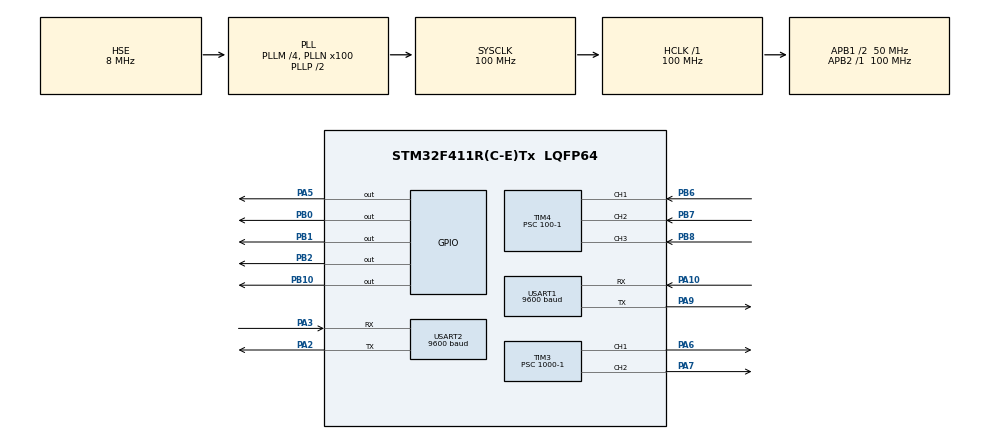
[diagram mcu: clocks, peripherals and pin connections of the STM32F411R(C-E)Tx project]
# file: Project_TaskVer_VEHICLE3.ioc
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FREERTOS.Tasks01=MOTOR_TASK,24,128,MOTOR_TASK01,Default,NULL,Dynamic,NULL,NULL;Ultrasonic,24,128,Ultrasonic01,Default,NULL,Dynamic,NULL,NULL;MANUAL,24,128,MANUAL01,Default,NULL,Dynamic,NULL,NULL;AUTO,24,128,AUTO01,Default,NULL,Dynamic,NULL,NULL
FREERTOS.configUSE_NEWLIB_REENTRANT=1
Mcu.Family=STM32F4
Mcu.Name=STM32F411R(C-E)Tx
Mcu.Package=LQFP64
NVIC.PriorityGroup=NVIC_PRIORITYGROUP_4
NVIC.TIM1_UP_TIM10_IRQn=true\:15\:0\:false\:false\:true\:false\:false\:true\:true
NVIC.TIM3_IRQn=true\:5\:0\:false\:false\:true\:true\:true\:true\:true
NVIC.TIM4_IRQn=true\:5\:0\:false\:false\:true\:true\:true\:true\:true
NVIC.TimeBase=TIM1_UP_TIM10_IRQn
NVIC.TimeBaseIP=TIM10
NVIC.USART1_IRQn=true\:5\:0\:false\:false\:true\:true\:true\:true\:true
NVIC.USART2_IRQn=true\:5\:0\:false\:false\:true\:true\:true\:true\:true
PA10.Mode=Asynchronous
PA10.Signal=USART1_RX
PA13.Mode=Serial_Wire
PA13.Signal=SYS_JTMS-SWDIO
PA14.Mode=Serial_Wire
PA14.Signal=SYS_JTCK-SWCLK
PA2.Mode=Asynchronous
PA2.Signal=USART2_TX
PA3.Mode=Asynchronous
PA3.Signal=USART2_RX
PA5.GPIO_Speed=GPIO_SPEED_FREQ_VERY_HIGH
PA5.Signal=GPIO_Output
PA6.Signal=S_TIM3_CH1
PA7.Signal=S_TIM3_CH2
PA9.Mode=Asynchronous
PA9.Signal=USART1_TX
PB0.Signal=GPIO_Output
PB1.Signal=GPIO_Output
PB10.Signal=GPIO_Output
PB2.Signal=GPIO_Output
PB6.Signal=S_TIM4_CH1
PB7.Signal=S_TIM4_CH2
PB8.Signal=S_TIM4_CH3
PH0\ -\ OSC_IN.Mode=HSE-External-Oscillator
PH0\ -\ OSC_IN.Signal=RCC_OSC_IN
PH1\ -\ OSC_OUT.Mode=HSE-External-Oscillator
PH1\ -\ OSC_OUT.Signal=RCC_OSC_OUT
ProjectManager.HeapSize=0x200
ProjectManager.StackSize=0x400
ProjectManager.TargetToolchain=STM32CubeIDE
RCC.48MHZClocksFreq_Value=50000000
RCC.AHBFreq_Value=100000000
RCC.APB1CLKDivider=RCC_HCLK_DIV2
RCC.APB1Freq_Value=50000000
RCC.APB1TimFreq_Value=100000000
RCC.APB2Freq_Value=100000000
RCC.APB2TimFreq_Value=100000000
RCC.CortexFreq_Value=100000000
RCC.HCLKFreq_Value=100000000
RCC.HSE_VALUE=8000000
RCC.HSI_VALUE=16000000
RCC.LSE_VALUE=32768
RCC.PLLM=4
RCC.PLLN=100
RCC.PLLSourceVirtual=RCC_PLLSOURCE_HSE
RCC.SYSCLKFreq_VALUE=100000000
RCC.SYSCLKSource=RCC_SYSCLKSOURCE_PLLCLK
RCC.VCOOutputFreq_Value=200000000
SH.S_TIM3_CH1.0=TIM3_CH1,PWM Generation1 CH1
SH.S_TIM3_CH2.0=TIM3_CH2,PWM Generation2 CH2
SH.S_TIM4_CH1.0=TIM4_CH1,Input_Capture1_from_TI1
SH.S_TIM4_CH2.0=TIM4_CH2,Input_Capture2_from_TI2
SH.S_TIM4_CH3.0=TIM4_CH3,Input_Capture3_from_TI3
TIM11.Prescaler=100-1
TIM3.AutoReloadPreload=TIM_AUTORELOAD_PRELOAD_DISABLE
TIM3.Channel-PWM\ Generation1\ CH1=TIM_CHANNEL_1
TIM3.Channel-PWM\ Generation2\ CH2=TIM_CHANNEL_2
TIM3.Period=1000-1
TIM3.Prescaler=1000-1
TIM4.Channel-Input_Capture1_from_TI1=TIM_CHANNEL_1
TIM4.Channel-Input_Capture2_from_TI2=TIM_CHANNEL_2
TIM4.Channel-Input_Capture3_from_TI3=TIM_CHANNEL_3
TIM4.ICFilter_CH3=0
TIM4.Prescaler=100-1
USART1.BaudRate=9600
USART1.VirtualMode=VM_ASYNC
USART2.BaudRate=9600
USART2.VirtualMode=VM_ASYNC
VP_FREERTOS_VS_CMSIS_V2.Mode=CMSIS_V2
VP_SYS_VS_tim10.Mode=TIM10
VP_TIM11_VS_ClockSourceINT.Mode=Enable_Timer
VP_TIM3_VS_ClockSourceINT.Mode=Internal
VP_TIM4_VS_ClockSourceINT.Mode=Internal
board=custom

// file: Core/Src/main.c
/* USER CODE BEGIN Header */
/**
  ******************************************************************************
  * @file           : main.c
  * @brief          : Main program body
  ******************************************************************************
  * @attention
  *
  * Copyright (c) 2025 STMicroelectronics.
  * All rights reserved.
  *
  * This software is licensed under terms that can be found in the LICENSE file
  * in the root directory of this software component.
  * If no LICENSE file comes with this software, it is provided AS-IS.
  *
  ******************************************************************************
  */
/* USER CODE END Header */
#include "main.h"
#include "cmsis_os.h"
#include "tim.h"
#include "usart.h"
#include "gpio.h"

/* USER CODE BEGIN Includes */

#include "stdio.h"
#include "motor.h"
#include "delay_us.h"
#include "task.h"
#include "FreeRTOS.h"

/* USER CODE END Includes */

void SystemClock_Config(void);
void MX_FREERTOS_Init(void);

int main(void)
{

  /* MCU Configuration--------------------------------------------------------*/

  /* Reset of all peripherals, Initializes the Flash interface and the Systick. */
  HAL_Init();

  /* Configure the system clock */
  SystemClock_Config();

  /* Initialize all configured peripherals */
  MX_GPIO_Init();
  MX_USART2_UART_Init();
  MX_TIM3_Init();
  MX_USART1_UART_Init();
  MX_TIM4_Init();
  MX_TIM11_Init();
  /* USER CODE BEGIN 2 */

  HAL_TIM_Base_Start(&htim11);          // for us timer
  HAL_TIM_IC_Start_IT(&htim4, TIM_CHANNEL_1); // for ultrasonic timer
  HAL_TIM_IC_Start_IT(&htim4, TIM_CHANNEL_2); // for ultrasonic timer
  HAL_TIM_IC_Start_IT(&htim4, TIM_CHANNEL_3); // for ultrasonic timer

  HAL_TIM_PWM_Start(&htim3, TIM_CHANNEL_1); // 좌측 PWM 시작
  HAL_TIM_PWM_Start(&htim3, TIM_CHANNEL_2); // 우측 PWM 시작

  /* USER CODE END 2 */

  /* Init scheduler */
  osKernelInitialize();  /* Call init function for freertos objects (in cmsis_os2.c) */
  MX_FREERTOS_Init();

  /* Start scheduler */
  osKernelStart();

  /* We should never get here as control is now taken by the scheduler */

  /* Infinite loop */
  while (1)
  {

  }
}

void SystemClock_Config(void)
{
  RCC_OscInitTypeDef RCC_OscInitStruct = {0};
  RCC_ClkInitTypeDef RCC_ClkInitStruct = {0};

  /** Configure the main internal regulator output voltage
  */
  __HAL_RCC_PWR_CLK_ENABLE();
  __HAL_PWR_VOLTAGESCALING_CONFIG(PWR_REGULATOR_VOLTAGE_SCALE1);

  /** Initializes the RCC Oscillators according to the specified parameters
  * in the RCC_OscInitTypeDef structure.
  */
  RCC_OscInitStruct.OscillatorType = RCC_OSCILLATORTYPE_HSE;
  RCC_OscInitStruct.HSEState = RCC_HSE_ON;
  RCC_OscInitStruct.PLL.PLLState = RCC_PLL_ON;
  RCC_OscInitStruct.PLL.PLLSource = RCC_PLLSOURCE_HSE;
  RCC_OscInitStruct.PLL.PLLM = 4;
  RCC_OscInitStruct.PLL.PLLN = 100;
  RCC_OscInitStruct.PLL.PLLP = RCC_PLLP_DIV2;
  RCC_OscInitStruct.PLL.PLLQ = 4;
  if (HAL_RCC_OscConfig(&RCC_OscInitStruct) != HAL_OK)
  {
    Error_Handler();
  }

  /** Initializes the CPU, AHB and APB buses clocks
  */
  RCC_ClkInitStruct.ClockType = RCC_CLOCKTYPE_HCLK|RCC_CLOCKTYPE_SYSCLK
                              |RCC_CLOCKTYPE_PCLK1|RCC_CLOCKTYPE_PCLK2;
  RCC_ClkInitStruct.SYSCLKSource = RCC_SYSCLKSOURCE_PLLCLK;
  RCC_ClkInitStruct.AHBCLKDivider = RCC_SYSCLK_DIV1;
  RCC_ClkInitStruct.APB1CLKDivider = RCC_HCLK_DIV2;
  RCC_ClkInitStruct.APB2CLKDivider = RCC_HCLK_DIV1;

  if (HAL_RCC_ClockConfig(&RCC_ClkInitStruct, FLASH_LATENCY_3) != HAL_OK)
  {
    Error_Handler();
  }
}

void HAL_TIM_PeriodElapsedCallback(TIM_HandleTypeDef *htim)
{
  if (htim->Instance == TIM10)
  {
    HAL_IncTick();
  }
}

void Error_Handler(void)
{
  __disable_irq();
  while (1)
  {
  }
}

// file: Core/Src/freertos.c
/* USER CODE BEGIN Header */
/**
  ******************************************************************************
  * File Name          : freertos.c
  * Description        : Code for freertos applications
  ******************************************************************************
  * @attention
  *
  * Copyright (c) 2025 STMicroelectronics.
  * All rights reserved.
  *
  * This software is licensed under terms that can be found in the LICENSE file
  * in the root directory of this software component.
  * If no LICENSE file comes with this software, it is provided AS-IS.
  *
  ******************************************************************************
  */
/* USER CODE END Header */

#include "FreeRTOS.h"
#include "task.h"
#include "main.h"
#include "cmsis_os.h"

/* USER CODE BEGIN Includes */

#include "stdio.h"
#include "motor.h"
#include "usart.h"
#include "delay_us.h"
#include "tim.h"
#include "gpio.h"

/* USER CODE END Includes */

/* USER CODE BEGIN PTD */

extern UART_HandleTypeDef huart1;
extern UART_HandleTypeDef huart2;

/* USER CODE END PTD */

/* USER CODE BEGIN PD */

// PA5 TRIG
#define TRIG_PORT GPIOA
#define TRIG_PIN GPIO_PIN_5

//// LEFT
//#define TRIG_PORT_L GPIOB
//#define TRIG_PIN_L GPIO_PIN_4
//
//// RIGHT
//#define TRIG_PORT_R GPIOB
//#define TRIG_PIN_R GPIO_PIN_5

/* USER CODE END PD */

/* USER CODE BEGIN PM */

#ifdef __GNUC__
/* With GCC small printf (option LD Linker->Libraries->Small printf
 * set to 'Yes') calls __io_putchar() */
#define PUTCHAR_PROTOTYPE int  __io_putchar(int ch)
#else
#define PUTCHAR_PROTOTYPE int  fputc(int ch, FILE *f)
#endif /* __GNUC__*/

/** @brief Retargets the C library printf function to the USART.
 *  @param None
 *  @retval None
 */
PUTCHAR_PROTOTYPE
{
  /* Place your implementation of fputc here */
  /* e.g. write a character to the USART2 and Loop
     until the end of transmission */
  if(ch == '\n')
    HAL_UART_Transmit(&huart2, (uint8_t*) "\r", 1, 0xFFFF);
    HAL_UART_Transmit(&huart2, (uint8_t*) &ch, 1, 0xFFFF);
}

/* USER CODE END PM */

/* USER CODE BEGIN Variables */

extern UART_HandleTypeDef huart1;
extern UART_HandleTypeDef huart2;

volatile uint8_t bluetooth_rx_data = 0; // 블루투스
volatile uint8_t debug_rx_data = 0;     // 디버그 UART

volatile uint8_t currentState = 0; // 0: Manual, 1: Auto

volatile uint8_t safeDistance_C = 35;
volatile uint8_t safeDistance_L = 15;
volatile uint8_t safeDistance_R = 15;

// 중앙
uint16_t IC_Value1_C = 0;
uint16_t IC_Value2_C = 0;
uint16_t echoTime_C = 0;
uint8_t captureFlag_C = 0;
uint8_t distance_C = 0;

// LEFT
uint16_t IC_Value1_L = 0;
uint16_t IC_Value2_L = 0;
uint16_t echoTime_L = 0;
uint8_t captureFlag_L = 0;
uint8_t distance_L = 0;

// RIGHT
uint16_t IC_Value1_R = 0;
uint16_t IC_Value2_R = 0;
uint16_t echoTime_R = 0;
uint8_t captureFlag_R = 0;
uint8_t distance_R = 0;

/* USER CODE END Variables */
/* Definitions for MOTOR_TASK */
osThreadId_t MOTOR_TASKHandle;
const osThreadAttr_t MOTOR_TASK_attributes = {
  .name = "MOTOR_TASK",
  .stack_size = 128 * 4,
  .priority = (osPriority_t) osPriorityNormal,
};
/* Definitions for Ultrasonic */
osThreadId_t UltrasonicHandle;
const osThreadAttr_t Ultrasonic_attributes = {
  .name = "Ultrasonic",
  .stack_size = 128 * 4,
  .priority = (osPriority_t) osPriorityNormal,
};
/* Definitions for MANUAL */
osThreadId_t MANUALHandle;
const osThreadAttr_t MANUAL_attributes = {
  .name = "MANUAL",
  .stack_size = 128 * 4,
  .priority = (osPriority_t) osPriorityNormal,
};
/* Definitions for AUTO */
osThreadId_t AUTOHandle;
const osThreadAttr_t AUTO_attributes = {
  .name = "AUTO",
  .stack_size = 128 * 4,
  .priority = (osPriority_t) osPriorityNormal,
};

/* USER CODE BEGIN FunctionPrototypes */

void MeasureSingleSensor(uint8_t sensor_channel)
{
    // 타이머 카운터 초기화는 HCSR04_TRIG에서 이미 수행됩니다.
    // __HAL_TIM_SET_COUNTER(&htim4, 0);

  if (sensor_channel == 1)
  { // Left
    __HAL_TIM_ENABLE_IT(&htim4, TIM_IT_CC1);
  }
  else if (sensor_channel == 2)
  { // Right
    __HAL_TIM_ENABLE_IT(&htim4, TIM_IT_CC2);
  }
  else if (sensor_channel == 3)
  { // Center
    __HAL_TIM_ENABLE_IT(&htim4, TIM_IT_CC3);
  }

  // HCSR04_TRIG를 호출하여 모든 센서를 동시에 트리거
  // 하지만, 위에서 특정 센서의 ECHO 인터럽트만 활성화했으므로 해당 센서의 값만 캡처됩니다.
  HAL_GPIO_WritePin(TRIG_PORT, TRIG_PIN, GPIO_PIN_RESET);
  delay_us(2);
  HAL_GPIO_WritePin(TRIG_PORT, TRIG_PIN, GPIO_PIN_SET);
  delay_us(10);
  HAL_GPIO_WritePin(TRIG_PORT, TRIG_PIN, GPIO_PIN_RESET);

  // 에코 펄스 수신을 위해 충분히 대기
  // osDelay(30); // 이 함수를 호출하는 곳에서 딜레이를 제공할 예정
}

void HAL_UART_RxCpltCallback(UART_HandleTypeDef *huart)
{
  if (huart->Instance == USART1) // 블루투스 (UART1)
  {

    HAL_UART_Receive_IT(&huart1, &bluetooth_rx_data, sizeof(bluetooth_rx_data));
  }
  else if (huart->Instance == USART2) // 디버그 (UART2)
  {

      HAL_UART_Receive_IT(&huart2, &debug_rx_data, sizeof(debug_rx_data));

      // printf("Received from debug: %c\r\n", debug_rx_cmd);
  }
}

void HAL_TIM_IC_CaptureCallback(TIM_HandleTypeDef *htim)
{
  if(htim->Channel == HAL_TIM_ACTIVE_CHANNEL_2) // RIGHT
  {
    if(captureFlag_R == 0)  // 아직 캡처를 안했다면
    {
      IC_Value1_R = HAL_TIM_ReadCapturedValue(&htim4, TIM_CHANNEL_2);
      captureFlag_R = 1;    // 캡처 했음 !!!
      // 캡처에 대한 극성을 라이징에서 폴링으로 바꿈
      __HAL_TIM_SET_CAPTUREPOLARITY(&htim4, TIM_CHANNEL_2, TIM_INPUTCHANNELPOLARITY_FALLING);
    }
    else if(captureFlag_R == 1) // 캡처를 했다면
    {
      IC_Value2_R = HAL_TIM_ReadCapturedValue(&htim4, TIM_CHANNEL_2);
//      __HAL_TIM_SET_COUNTER(&htim4, 0);

      if(IC_Value2_R > IC_Value1_R)
      {
        echoTime_R = IC_Value2_R - IC_Value1_R;
      }
      else if(IC_Value1_R > IC_Value2_R)
      {
        echoTime_R = (0xffff - IC_Value1_R) + IC_Value2_R;
      }
      distance_R = echoTime_R / 58;
      captureFlag_R = 0;
      __HAL_TIM_SET_CAPTUREPOLARITY(&htim4, TIM_CHANNEL_2, TIM_INPUTCHANNELPOLARITY_RISING);
      __HAL_TIM_DISABLE_IT(&htim4, TIM_IT_CC2);
    }
  }

  if(htim->Channel == HAL_TIM_ACTIVE_CHANNEL_1) // LEFT
  {
    if(captureFlag_L == 0)  // 아직 캡처를 안했다면
    {
      IC_Value1_L = HAL_TIM_ReadCapturedValue(&htim4, TIM_CHANNEL_1);
      captureFlag_L = 1;    // 캡처 했음 !!!
      // 캡처에 대한 극성을 라이징에서 폴링으로 바꿈
      __HAL_TIM_SET_CAPTUREPOLARITY(&htim4, TIM_CHANNEL_1, TIM_INPUTCHANNELPOLARITY_FALLING);
    }
    else if(captureFlag_L == 1) // 캡처를 했다면
    {
      IC_Value2_L = HAL_TIM_ReadCapturedValue(&htim4, TIM_CHANNEL_1);
//      __HAL_TIM_SET_COUNTER(&htim4, 0);

      if(IC_Value2_L > IC_Value1_L)
      {
        echoTime_L = IC_Value2_L - IC_Value1_L;
      }
      else if(IC_Value1_L > IC_Value2_L)
      {
        echoTime_L = (0xffff - IC_Value1_L) + IC_Value2_L;
      }
      distance_L = echoTime_L / 58;
      captureFlag_L = 0;
      __HAL_TIM_SET_CAPTUREPOLARITY(&htim4, TIM_CHANNEL_1, TIM_INPUTCHANNELPOLARITY_RISING);
      __HAL_TIM_DISABLE_IT(&htim4, TIM_IT_CC1);
    }
  }

  if(htim->Channel == HAL_TIM_ACTIVE_CHANNEL_3) // CENTER
  {
    if(captureFlag_C == 0)  // 아직 캡처를 안했다면
    {
      IC_Value1_C = HAL_TIM_ReadCapturedValue(&htim4, TIM_CHANNEL_3);
      captureFlag_C = 1;    // 캡처 했음 !!!
      // 캡처에 대한 극성을 라이징에서 폴링으로 바꿈
      __HAL_TIM_SET_CAPTUREPOLARITY(&htim4, TIM_CHANNEL_3, TIM_INPUTCHANNELPOLARITY_FALLING);
    }
    else if(captureFlag_C == 1) // 캡처를 했다면
    {
      IC_Value2_C = HAL_TIM_ReadCapturedValue(&htim4, TIM_CHANNEL_3);
//      __HAL_TIM_SET_COUNTER(&htim4, 0);

      if(IC_Value2_C > IC_Value1_C)
      {
        echoTime_C = IC_Value2_C - IC_Value1_C;
      }
      else if(IC_Value1_C > IC_Value2_C)
      {
        echoTime_C = (0xffff - IC_Value1_C) + IC_Value2_C;
      }
      distance_C = echoTime_C / 58;
      captureFlag_C = 0;
      __HAL_TIM_SET_CAPTUREPOLARITY(&htim4, TIM_CHANNEL_3, TIM_INPUTCHANNELPOLARITY_RISING);
      __HAL_TIM_DISABLE_IT(&htim4, TIM_IT_CC3);
      printf("C2: %lu, Echo: %lu, Dist: %d\r\n", IC_Value2_C, echoTime_C, distance_C); // 디버깅용
    }
  }
}

void HCSR04_TRIG(void)
{
  HAL_GPIO_WritePin(TRIG_PORT, TRIG_PIN, GPIO_PIN_RESET);
  delay_us(2);
  HAL_GPIO_WritePin(TRIG_PORT, TRIG_PIN, GPIO_PIN_SET);
  delay_us(10);
  HAL_GPIO_WritePin(TRIG_PORT, TRIG_PIN, GPIO_PIN_RESET);

  __HAL_TIM_SET_COUNTER(&htim4, 0);

//  __HAL_TIM_ENABLE_IT(&htim4, TIM_IT_CC1);
//  __HAL_TIM_ENABLE_IT(&htim4, TIM_IT_CC2);
//  __HAL_TIM_ENABLE_IT(&htim4, TIM_IT_CC3);
}

/* USER CODE END FunctionPrototypes */

void MOTOR_TASK01(void *argument);
void Ultrasonic01(void *argument);
void MANUAL01(void *argument);
void AUTO01(void *argument);

void MX_FREERTOS_Init(void); /* (MISRA C 2004 rule 8.1) */

void MX_FREERTOS_Init(void) {
  /* USER CODE BEGIN Init */

  HAL_UART_Receive_IT(&huart1, &bluetooth_rx_data, sizeof(bluetooth_rx_data)); // 블루투스
  HAL_UART_Receive_IT(&huart2, &debug_rx_data, sizeof(debug_rx_data));         // 디버그

  /* USER CODE END Init */

  /* Create the thread(s) */
  /* creation of MOTOR_TASK */
  MOTOR_TASKHandle = osThreadNew(MOTOR_TASK01, NULL, &MOTOR_TASK_attributes);

  /* creation of Ultrasonic */
  UltrasonicHandle = osThreadNew(Ultrasonic01, NULL, &Ultrasonic_attributes);

  /* creation of MANUAL */
  MANUALHandle = osThreadNew(MANUAL01, NULL, &MANUAL_attributes);

  /* creation of AUTO */
  AUTOHandle = osThreadNew(AUTO01, NULL, &AUTO_attributes);

}

void MOTOR_TASK01(void *argument)
{
  for(;;)
  {
    osDelay(1);
  }
}

void Ultrasonic01(void *argument)
{
  /* USER CODE BEGIN Ultrasonic01 */
  /* Infinite loop */
  for(;;)
  {
    // 각 센서를 순차적으로 트리거하고 측정
    MeasureSingleSensor(3); // 중앙 센서 측정
    osDelay(1);   // 에코 수신 대기 (딜레이 증가)
    MeasureSingleSensor(1); // 왼쪽 센서 측정
    osDelay(1);   // 에코 수신 대기 (딜레이 증가)
    MeasureSingleSensor(2); // 오른쪽 센서 측정
    osDelay(1);   // 에코 수신 대기 (딜레이 증가)

    // 모든 센서 측정 완료 후 거리 출력 (AUTO01에서도 출력하므로, 여기서 출력은 선택 사항)
    // printf("Ultrasonic01: C:%d cm, L:%d cm, R:%d cm \r\n", distance_C, distance_L, distance_R);

    // 전체 센서 측정 주기를 조절
    osDelay(200); // 다음 측정 사이의 충분한 딜레이 (이전 150ms보다 늘려서 안정성 추구)

//    HCSR04_TRIG();
//    printf("c: %d cm, l: %d cm, r: %d cm \r\n", distance_C, distance_L, distance_R);
//    osDelay(300);
  }
  /* USER CODE END Ultrasonic01 */
}

void MANUAL01(void *argument)
{
  /* USER CODE BEGIN MANUAL01 */
  /* Infinite loop */
  for(;;)
  {
    if (currentState == 0)
       {
         if (bluetooth_rx_data != 0)
         {
           switch (bluetooth_rx_data)
           {
             case 'F':
               forwardMoveNormal();
               break;
             case 'B':
               backwordMove();
               break;
             case 'L':
               leftMove();
               break;
             case 'R':
               rightMove();
               break;
             case 'X':
               stopMove();
//               printf("Mode: Manual (Stopped)\r\n");
               break;
             case 'S':
               stopMove();
               break;
             case 'Y':
               currentState = 1;
               stopMove(); // 모드 전환 시 정지
//               printf("Mode: Auto\r\n");
               break;
           }
           bluetooth_rx_data;
         }
       }
       osDelay(50);
  }
  /* USER CODE END MANUAL01 */
}

void AUTO01(void *argument)
{
  /* USER CODE BEGIN AUTO01 */
  /* Infinite loop */
  for(;;)
  {
    if (currentState == 1) // 현재 상태가 자율주행 모드일 때
       {
         // 디버깅을 위해 printf 활성화 추천!
//         printf("Auto Logic: C:%d cm, L:%d cm, R:%d cm \r\n", distance_C, distance_L, distance_R);

         // 1. 전방 장애물 감지 로직 시작 (중앙 센서의 safeDistance_C 사용)
         if (distance_C < safeDistance_C && distance_C != 0) // 중앙 센서 거리가 safeDistance_C보다 가깝고, 0이 아닐 때
         {
           stopMove();    // 일단 정지합니다.
           osDelay(300);  // 300ms 동안 정지.

           // **정지 후 센서 값 다시 측정 (중요!)**
           // 순차적으로 다시 측정하여 간섭을 줄이려 시도
           MeasureSingleSensor(3); osDelay(50); // 중앙 센서 다시 측정 (딜레이 증가)
           MeasureSingleSensor(1); osDelay(50); // 왼쪽 센서 다시 측정 (딜레이 증가)
           MeasureSingleSensor(2); osDelay(50); // 오른쪽 센서 다시 측정 (딜레이 증가)
//           printf("After Stop: C:%d cm, L:%d cm, R:%d cm \r\n", distance_C, distance_L, distance_R); // 재측정 값 확인

           // 2. 장애물 회피 로직 시작 (각 센서의 safeDistance_C, safeDistance_L, safeDistance_R 사용)
           // 모든 방향이 막혔을 때 로직을 가장 먼저 판단하여 후진 우선
           if (distance_C < safeDistance_C && distance_L < safeDistance_L && distance_R < safeDistance_R &&
               distance_C != 0 && distance_L != 0 && distance_R != 0)
           {
//             printf("All directions blocked. Backing up and retry.\r\n");
             backwordMove(); // 후진
             osDelay(1000);  // 1초 후진
             stopMove();     // 정지
             osDelay(300);   // 정지 후 안정화

             // 후진 후 다시 센서 측정하여 최신 상황 파악
             MeasureSingleSensor(3); osDelay(50);
             MeasureSingleSensor(1); osDelay(50);
             MeasureSingleSensor(2); osDelay(50);
//             printf("After Back: C:%d cm, L:%d cm, R:%d cm \r\n", distance_C, distance_L, distance_R);

             // 후진 후에도 여전히 막혀있다면, 덜 막힌 쪽으로 크게 회전 시도
             if (distance_L > distance_R) // 왼쪽이 더 멀면
             {
               leftMove();
               osDelay(1500); // 더 길게 회전 시도 (예: 1.5초)
             }
             else // 오른쪽이 더 멀거나 같으면
             {
               rightMove();
               osDelay(1500); // 더 길게 회전 시도
             }
             stopMove();     // 회전 후 정지
             osDelay(300);   // 회전 후 안정화 시간
           }
           // 전방은 막혔지만, 양옆 중 한 곳 이상이 뚫려있을 때
           else if (distance_L > safeDistance_L && distance_R > safeDistance_R) // 전방만 막히고 양쪽 모두 여유 있을 때
           {
//             printf("Obstacle Front. Both sides clear. Choosing turn direction.\r\n");
             if (distance_L > distance_R) // 왼쪽이 더 멀면
             {
               leftMove();
               osDelay(700);
             }
             else // 오른쪽이 더 멀거나 같으면
             {
               rightMove();
               osDelay(700);
             }
             stopMove();
             osDelay(200);
           }
           else if (distance_L > safeDistance_L) // 왼쪽만 여유 있을 때 (오른쪽이 막히고 왼쪽만 뚫려있음)
           {
//             printf("Obstacle Front/Right. Turning Left.\r\n");
             leftMove();
             osDelay(500);
             stopMove();
             osDelay(100);
           }
           else if (distance_R > safeDistance_R) // 오른쪽만 여유 있을 때 (왼쪽이 막히고 오른쪽만 뚫려있음)
           {
//             printf("Obstacle Front/Left. Turning Right.\r\n");
             rightMove();
             osDelay(500);
             stopMove();
             osDelay(100);
           }
           else // 이 조건에 도달했다면 모든 방향이 막힌 경우 (위의 "All directions blocked"에서 처리되지 않았다면)
           {
//               printf("Unclear obstacle situation. Backing up short.\r\n");
               backwordMove();
               osDelay(500); // 짧게 후진
               stopMove();
               osDelay(200);
           }
         }
         else // 전방에 장애물 없음 (distance_C >= safeDistance_C 또는 distance_C == 0)
         {
//           printf("Clear path. Moving Forward.\r\n");
           forwardMoveNormal(); // 앞으로 전진
         }

         // 모드 전환 명령 확인 (AUTO 모드 중)
         if (bluetooth_rx_data == 'X') // 'X' 명령이 수신되면 수동 모드로 전환
         {
           currentState = 0;
           stopMove(); // 모드 전환 시 정지
//           printf("Mode: Manual\r\n");
           bluetooth_rx_data = 0; // 명령 처리 후 변수 초기화
         }
       }
       osDelay(50); // 이 태스크는 50ms마다 한 번씩 실행되도록 CPU 시간을 양보합니다.
  }
  /* USER CODE END AUTO01 */
}
